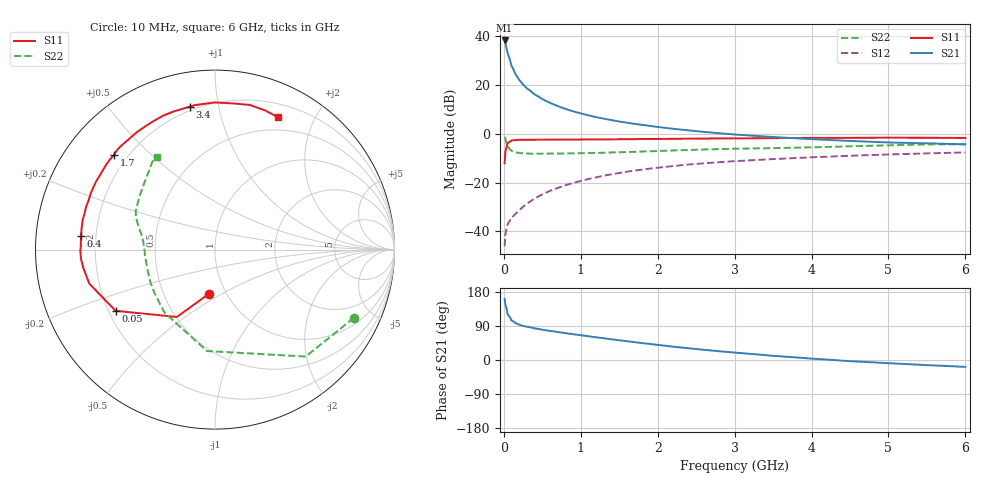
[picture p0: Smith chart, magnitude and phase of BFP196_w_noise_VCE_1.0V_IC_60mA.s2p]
! Infineon Technologies  Discrete & RF Semiconductors
! BFP196
! VCE =  1.0 V,  IC =  60 mA
! Common Emitter S-Parameters:  Jan 2017
# GHz  S  MA  R  50
!  f  S11  S21  S12  S22
! GHz  MAG  ANG  MAG  ANG  MAG  ANG  MAG  ANG
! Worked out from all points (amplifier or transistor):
!   77 points, 10 MHz to 6 GHz, reference 50 ohm
!   highest |S21| = 38.1 dB at 10 MHz (marker M1)
!   |S21| within 3 dB of that: start of sweep to 33.75 MHz
!   unconditionally stable (mu >= 1): 382.7 MHz to 2.767 GHz
!   at 130 MHz: K = 0.73, MSG = 29.7 dB, |S12| = -33.5 dB
!   at 2.2 GHz: K = 1.02, MAG = 6.8 dB, |S12| = -13.3 dB
!   at 6 GHz: K = 0.99, MSG = 1.7 dB, |S12| = -7.7 dB
!   lowest NFmin = 1.56 dB at 450 MHz
!   S11 on the Smith chart (normalised r, x): 10 MHz: 0.83, -0.44; 50 MHz: 0.23, -0.27; 400 MHz: 0.14, +0.05; 1.7 GHz: 0.15, +0.39; 3.4 GHz: 0.18, +0.82; 6 GHz: 0.34, +1.53
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0.01  0.2486 -97.8  80.58 161.2  0.005 72.2  0.8621 -26.2
0.02  0.4314 -119.5  71.04 145.8  0.0086 62.4  0.7813 -49.7
0.05  0.6504 -148.4  43.56 119.7  0.014 50.1  0.5668 -94.5
0.1  0.7257 -164.9  24.39 104.2  0.0188 52.1  0.4497 -128.8
0.15  0.7404 -172.0  16.65 97.6  0.0228 55.5  0.4148 -144.5
0.2  0.7484 -176.0  12.58 93.2  0.027 59.9  0.4029 -153.6
0.25  0.75 -179.4  10.1 90.0  0.0321 62.1  0.3956 -159.3
0.3  0.7479 178.3  8.436 87.7  0.0368 63.9  0.3921 -163.7
0.4  0.7508 174.1  6.366 83.5  0.0469 66.1  0.3902 -169.2
0.5  0.7531 170.4  5.096 80.0  0.0572 67.2  0.3898 -173.1
0.6  0.7557 167.3  4.268 76.8  0.0677 67.1  0.3921 -176.3
0.7  0.754 164.5  3.666 74.0  0.0776 66.9  0.3916 -178.7
0.9  0.7556 158.6  2.861 68.1  0.0986 65.4  0.3963 177.6
1.1  0.7616 153.0  2.369 62.7  0.1183 63.1  0.4012 174.4
1.4  0.7652 144.8  1.895 54.7  0.1476 59.2  0.4124 170.2
1.7  0.7717 136.8  1.587 47.1  0.1756 54.6  0.4256 166.9
2.1  0.7819 126.4  1.314 37.6  0.2093 48.5  0.4474 162.7
3.1  0.8034 105.2  0.939 18.0  0.2791 33.9  0.4944 152.6
3.4  0.8091 99.9  0.874 12.9  0.2963 30.0  0.503 148.9
4.1  0.819 88.7  0.76 2.4  0.3334 21.2  0.5303 139.7
5.1  0.8272 75.2  0.655 -9.4  0.3791 9.5  0.5824 128.3
6  0.8174 64.6  0.605 -18.1  0.4135 -0.4  0.6076 122.0
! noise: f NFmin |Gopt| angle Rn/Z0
0.45  1.56  0.41  -174  0.06
0.9  1.72  0.48  -162  0.08
1.9  2.54  0.68  -132  0.35
2.4  2.93  0.7  -119  0.72
